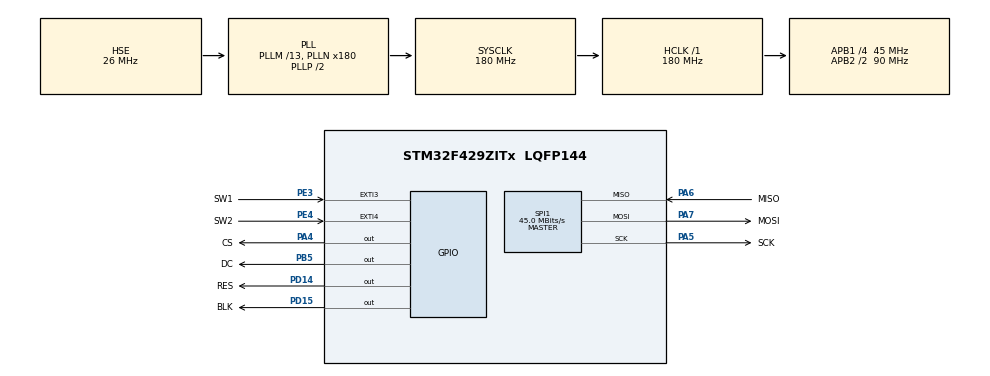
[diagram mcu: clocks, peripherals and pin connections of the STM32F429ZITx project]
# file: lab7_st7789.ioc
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Dma.Request0=SPI1_TX
Dma.SPI1_TX.0.Direction=DMA_MEMORY_TO_PERIPH
Dma.SPI1_TX.0.FIFOMode=DMA_FIFOMODE_DISABLE
Dma.SPI1_TX.0.Instance=DMA2_Stream3
Dma.SPI1_TX.0.MemDataAlignment=DMA_MDATAALIGN_BYTE
Dma.SPI1_TX.0.MemInc=DMA_MINC_ENABLE
Dma.SPI1_TX.0.Mode=DMA_NORMAL
Dma.SPI1_TX.0.PeriphDataAlignment=DMA_PDATAALIGN_BYTE
Dma.SPI1_TX.0.PeriphInc=DMA_PINC_DISABLE
Dma.SPI1_TX.0.Priority=DMA_PRIORITY_LOW
FREERTOS.Tasks01=defaultTask,24,128,StartDefaultTask,Default,NULL,Dynamic,NULL,NULL
Mcu.Family=STM32F4
Mcu.Name=STM32F429ZITx
Mcu.Package=LQFP144
NVIC.DMA2_Stream3_IRQn=true\:5\:0\:false\:false\:true\:true\:false\:true\:true
NVIC.EXTI3_IRQn=true\:5\:0\:false\:false\:true\:true\:true\:true\:true
NVIC.EXTI4_IRQn=true\:5\:0\:false\:false\:true\:true\:true\:true\:true
NVIC.PriorityGroup=NVIC_PRIORITYGROUP_4
NVIC.SPI1_IRQn=true\:5\:0\:false\:false\:true\:true\:true\:true\:true
PA13.Mode=Serial_Wire
PA13.Signal=SYS_JTMS-SWDIO
PA14.Mode=Serial_Wire
PA14.Signal=SYS_JTCK-SWCLK
PA4.GPIO_Label=CS
PA4.Signal=GPIO_Output
PA5.GPIO_Label=SCK
PA5.Mode=Full_Duplex_Master
PA5.Signal=SPI1_SCK
PA6.GPIO_Label=MISO
PA6.Mode=Full_Duplex_Master
PA6.Signal=SPI1_MISO
PA7.GPIO_Label=MOSI
PA7.Mode=Full_Duplex_Master
PA7.Signal=SPI1_MOSI
PB5.GPIO_Label=DC
PB5.Signal=GPIO_Output
PC14/OSC32_IN.Mode=LSE-External-Oscillator
PC14/OSC32_IN.Signal=RCC_OSC32_IN
PC15/OSC32_OUT.Mode=LSE-External-Oscillator
PC15/OSC32_OUT.Signal=RCC_OSC32_OUT
PD14.GPIO_Label=RES
PD14.Signal=GPIO_Output
PD15.GPIO_Label=BLK
PD15.Signal=GPIO_Output
PE3.GPIO_Label=SW1
PE3.Signal=GPXTI3
PE4.GPIO_Label=SW2
PE4.Signal=GPXTI4
PH0/OSC_IN.Mode=HSE-External-Oscillator
PH0/OSC_IN.Signal=RCC_OSC_IN
PH1/OSC_OUT.Mode=HSE-External-Oscillator
PH1/OSC_OUT.Signal=RCC_OSC_OUT
ProjectManager.HeapSize=0x200
ProjectManager.StackSize=0x400
ProjectManager.TargetToolchain=MDK-ARM V5.32
RCC.48MHZClocksFreq_Value=51428571.428571425
RCC.AHBFreq_Value=180000000
RCC.APB1CLKDivider=RCC_HCLK_DIV4
RCC.APB1Freq_Value=45000000
RCC.APB1TimFreq_Value=90000000
RCC.APB2CLKDivider=RCC_HCLK_DIV2
RCC.APB2Freq_Value=90000000
RCC.APB2TimFreq_Value=180000000
RCC.CortexFreq_Value=180000000
RCC.HCLKFreq_Value=180000000
RCC.HSE_VALUE=26000000
RCC.HSI_VALUE=16000000
RCC.PLLM=13
RCC.PLLMUL=RCC_PLL_MUL9
RCC.PLLN=180
RCC.PLLQ=7
RCC.PLLSourceVirtual=RCC_PLLSOURCE_HSE
RCC.PRESCALERUSB=RCC_USBCLKSOURCE_PLL_DIV1_5
RCC.SYSCLKFreq_VALUE=180000000
RCC.SYSCLKSource=RCC_SYSCLKSOURCE_PLLCLK
RCC.SYSCLKSourceVirtual=RCC_SYSCLKSOURCE_PLLCLK
RCC.USBFreq_Value=48000000
RCC.VCOOutputFreq_Value=360000000
SPI1.CalculateBaudRate=45.0 MBits/s
SPI1.Direction=SPI_DIRECTION_2LINES
SPI1.Mode=SPI_MODE_MASTER
SPI1.VirtualType=VM_MASTER
VP_FREERTOS_VS_CMSIS_V2.Mode=CMSIS_V2
board=NUCLEO-F429ZI

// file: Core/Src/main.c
/* USER CODE BEGIN Header */
/**
  ******************************************************************************
  * @file           : main.c
  * @brief          : Main program body
  ******************************************************************************
  * @attention
  *
  * Copyright (c) 2024 STMicroelectronics.
  * All rights reserved.
  *
  * This software is licensed under terms that can be found in the LICENSE file
  * in the root directory of this software component.
  * If no LICENSE file comes with this software, it is provided AS-IS.
  *
  ******************************************************************************
  */
/* USER CODE END Header */
#include "main.h"
#include "cmsis_os.h"
#include "dma.h"
#include "spi.h"
#include "gpio.h"

/* USER CODE BEGIN Includes */
#include "FreeRTOS.h"
#include "queue.h"
#include "task.h"
#include "lcd.h"
#include "lcd_init.h"
#include "image.h"
#include "image_2.h"
#include "airisu01.h"
#include "airisu02.h"
#include "airisu03.h"
#include "airisu04.h"
#include "airisu05.h"
#include "airisu06.h"
/* USER CODE END Includes */

/* USER CODE BEGIN PV */
TaskHandle_t handleST7789;
/* USER CODE END PV */

void SystemClock_Config(void);
void MX_FREERTOS_Init(void);

/* USER CODE BEGIN 0 */
void taskST7789(void *pvParm){
	uint8_t select = 0;

	while(1){
		switch(select){
			case 0:
			{
				uint8_t msg[] = "Welcome";
				uint8_t msg_2[] = "Giraffe";
				uint8_t msg_3[] = "Studio";
				LCD_Fill(0, 0, 240, 240, WHITE);
				LCD_ShowString(10, 30, msg, BLACK, WHITE, 32, 1);
				LCD_ShowString(10, 70, msg_2, BLACK, WHITE, 32, 1);
				LCD_ShowString(10, 110, msg_3, BLACK, WHITE, 32, 1);

				select = 1;
				break;
			}

			case 1:
			{
				while(1){
				LCD_ShowPicture_DMA(gImage_airisu01);
				LCD_ShowPicture_DMA(gImage_airisu02);
				LCD_ShowPicture_DMA(gImage_airisu03);
				LCD_ShowPicture_DMA(gImage_airisu04);
				LCD_ShowPicture_DMA(gImage_airisu05);
				LCD_ShowPicture_DMA(gImage_airisu06);
				select = 1;
				}

				break;
			}

			default:
				LCD_ShowPicture(0,0,240,240,gImage_image);
				select = 1;
				break;
		}

		vTaskDelay(1000);
	}
}
/* USER CODE END 0 */

int main(void)
{

  /* MCU Configuration--------------------------------------------------------*/

  /* Reset of all peripherals, Initializes the Flash interface and the Systick. */
  HAL_Init();

  /* Configure the system clock */
  SystemClock_Config();

  /* Initialize all configured peripherals */
  MX_GPIO_Init();
  MX_DMA_Init();
  MX_SPI1_Init();
  /* USER CODE BEGIN 2 */
	LCD_Init();
	LCD_CS_Clr();
	LCD_Address_Set(0,0,240,240);

	xTaskCreate(taskST7789, "LCD Display", 512, NULL, 1, &handleST7789);
	vTaskStartScheduler();
  /* USER CODE END 2 */

  /* Init scheduler */
  osKernelInitialize();  /* Call init function for freertos objects (in freertos.c) */
  MX_FREERTOS_Init();

  /* Start scheduler */
  osKernelStart();

  /* We should never get here as control is now taken by the scheduler */
  /* Infinite loop */
  while (1)
  {

  }
}

void SystemClock_Config(void)
{
  RCC_OscInitTypeDef RCC_OscInitStruct = {0};
  RCC_ClkInitTypeDef RCC_ClkInitStruct = {0};

  /** Configure the main internal regulator output voltage
  */
  __HAL_RCC_PWR_CLK_ENABLE();
  __HAL_PWR_VOLTAGESCALING_CONFIG(PWR_REGULATOR_VOLTAGE_SCALE1);

  /** Initializes the RCC Oscillators according to the specified parameters
  * in the RCC_OscInitTypeDef structure.
  */
  RCC_OscInitStruct.OscillatorType = RCC_OSCILLATORTYPE_HSE;
  RCC_OscInitStruct.HSEState = RCC_HSE_ON;
  RCC_OscInitStruct.PLL.PLLState = RCC_PLL_ON;
  RCC_OscInitStruct.PLL.PLLSource = RCC_PLLSOURCE_HSE;
  RCC_OscInitStruct.PLL.PLLM = 13;
  RCC_OscInitStruct.PLL.PLLN = 180;
  RCC_OscInitStruct.PLL.PLLP = RCC_PLLP_DIV2;
  RCC_OscInitStruct.PLL.PLLQ = 7;
  if (HAL_RCC_OscConfig(&RCC_OscInitStruct) != HAL_OK)
  {
    Error_Handler();
  }

  /** Activate the Over-Drive mode
  */
  if (HAL_PWREx_EnableOverDrive() != HAL_OK)
  {
    Error_Handler();
  }

  /** Initializes the CPU, AHB and APB buses clocks
  */
  RCC_ClkInitStruct.ClockType = RCC_CLOCKTYPE_HCLK|RCC_CLOCKTYPE_SYSCLK
                              |RCC_CLOCKTYPE_PCLK1|RCC_CLOCKTYPE_PCLK2;
  RCC_ClkInitStruct.SYSCLKSource = RCC_SYSCLKSOURCE_PLLCLK;
  RCC_ClkInitStruct.AHBCLKDivider = RCC_SYSCLK_DIV1;
  RCC_ClkInitStruct.APB1CLKDivider = RCC_HCLK_DIV4;
  RCC_ClkInitStruct.APB2CLKDivider = RCC_HCLK_DIV2;

  if (HAL_RCC_ClockConfig(&RCC_ClkInitStruct, FLASH_LATENCY_5) != HAL_OK)
  {
    Error_Handler();
  }
}

void Error_Handler(void)
{
  __disable_irq();
  while (1)
  {
  }
}
